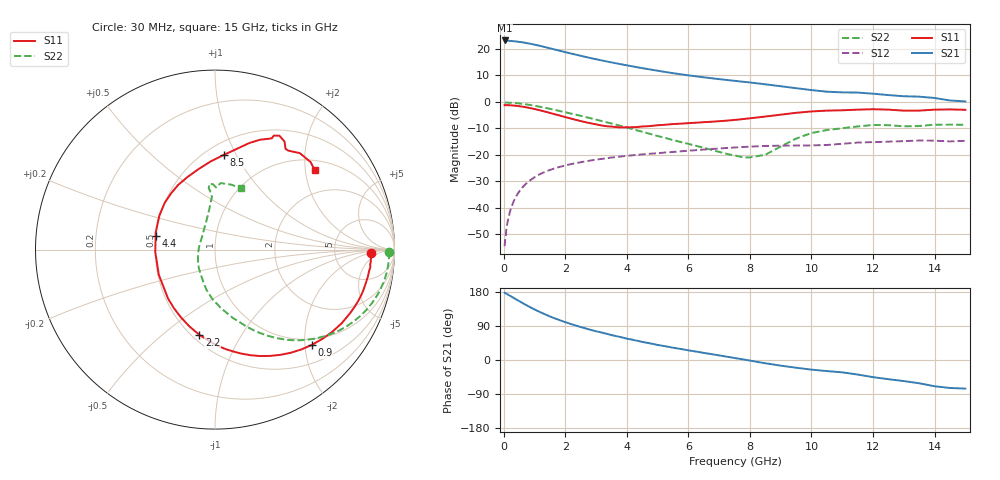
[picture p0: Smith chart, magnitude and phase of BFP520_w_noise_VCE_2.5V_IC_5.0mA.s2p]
! Infineon Technologies  Discrete & RF Semiconductors
! BFP520
! VCE =  2.5 V,  IC =  5.0 mA
! Common Emitter S-Parameters:  Oct 2015
# GHz  S  MA  R  50
!  f  S11  S21  S12  S22
! GHz  MAG  ANG  MAG  ANG  MAG  ANG  MAG  ANG
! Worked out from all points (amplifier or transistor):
!   109 points, 30 MHz to 15 GHz, reference 50 ohm
!   highest |S21| = 23.2 dB at 30 MHz (marker M1)
!   |S21| within 3 dB of that: start of sweep to 1.52 GHz
!   unconditionally stable (mu >= 1): 4.175 GHz to end of sweep
!   at 450 MHz: K = 0.20, MSG = 28.7 dB, |S12| = -34.8 dB
!   at 4 GHz: K = 0.97, MSG = 17.1 dB, |S12| = -20.3 dB
!   at 15 GHz: K = 1.39, MAG = 3.7 dB, |S12| = -14.7 dB
!   lowest NFmin = 1.18 dB at 900 MHz
!   S11 on the Smith chart (normalised r, x): 30 MHz: 14, -2; 900 MHz: 0.87, -2.15; 2.2 GHz: 0.55, -0.68; 4.4 GHz: 0.50, +0.08; 8.5 GHz: 0.61, +0.89; 15 GHz: 1.27, +2.26
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0.03  0.87 -1.4  14.45 177.8  0.0019 37.6  0.9687 -0.8
0.05  0.8678 -2.3  14.3 176.4  0.0026 52.5  0.9698 -1.4
0.2  0.8647 -10.2  14.18 169.7  0.0083 75.2  0.9671 -6.3
0.45  0.8393 -22.7  13.71 157.8  0.0183 74.4  0.9452 -14.3
0.7  0.7976 -35.1  13.05 146.3  0.0277 70.0  0.9072 -21.9
0.9  0.7572 -44.5  12.4 137.8  0.0346 66.3  0.8696 -27.5
1  0.7353 -49.2  12.06 133.6  0.0379 64.4  0.8491 -30.2
1.2  0.6896 -58.3  11.35 125.8  0.044 60.8  0.8066 -35.3
1.5  0.6209 -71.4  10.3 115.1  0.052 55.9  0.7415 -42.1
1.8  0.5582 -83.8  9.31 105.7  0.059 51.6  0.6781 -48.2
2.2  0.4831 -100.3  8.161 94.5  0.0673 46.7  0.6007 -55.2
2.6  0.4223 -116.8  7.194 84.7  0.0746 42.4  0.5299 -61.5
3  0.378 -133.8  6.396 75.8  0.0814 38.6  0.4646 -67.6
3.5  0.3433 -155.8  5.575 65.7  0.0893 34.0  0.3925 -75.5
4.4  0.3391 167.3  4.448 49.7  0.1012 26.2  0.284 -91.3
5.1  0.3664 146.0  3.796 38.4  0.1092 21.1  0.2201 -103.5
6  0.398 127.8  3.174 25.5  0.1201 14.9  0.1619 -119.1
7.6  0.4637 99.7  2.467 4.0  0.1392 2.8  0.0949 -170.5
8.5  0.5302 84.6  2.151 -8.6  0.1477 -5.0  0.1008 136.1
10.5  0.6858 64.2  1.56 -29.2  0.1542 -17.3  0.2953 93.3
13  0.6849 55.0  1.281 -55.6  0.1822 -36.4  0.3466 89.1
15  0.7102 38.4  1.023 -75.5  0.1847 -51.5  0.3717 66.7
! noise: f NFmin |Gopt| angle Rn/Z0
0.45  1.2  0.47  3  0.32
0.9  1.18  0.45  10  0.34
1.9  1.41  0.39  21  0.29
2.4  1.45  0.35  34  0.28
3.5  1.4  0.32  56  0.26
